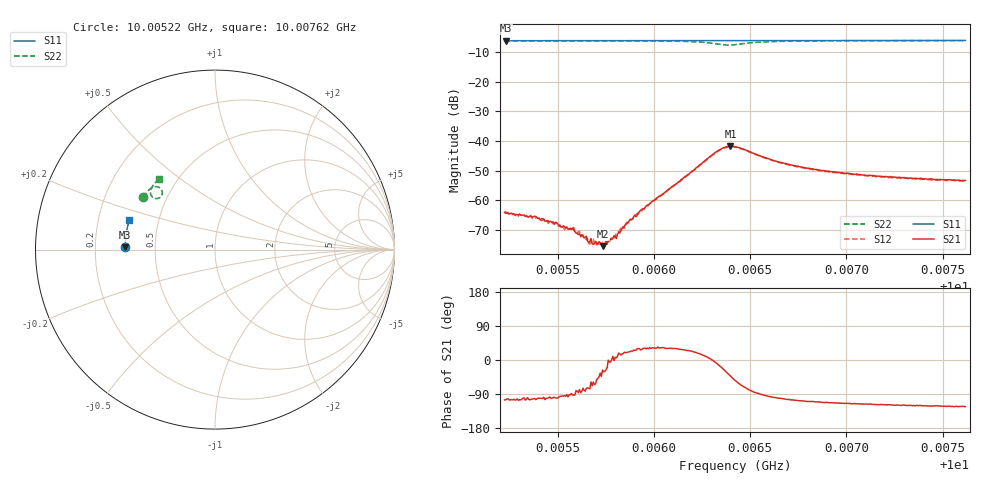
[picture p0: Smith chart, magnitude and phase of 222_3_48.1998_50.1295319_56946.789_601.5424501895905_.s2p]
#  HZ  S  RI  R  50.00
! Rohde & Schwarz Vector Network Analyzer
! Rohde-Schwarz,ZNB20-2Port,1311601062101988,3.16
! Created: UTC 3/20/2024, 11:46:00 AM
! freq[Hz]  re:S11  im:S11  re:S21  im:S21  re:S12  im:S12  re:S22  im:S22
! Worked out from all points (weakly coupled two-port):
!   401 points, 10.00522 GHz to 10.00762 GHz, reference 50 ohm
!   highest |S21| = -41.79 dB at 10.0064 GHz (marker M1); lowest = -75.6 dB at 10.00573 GHz (marker M2)
!   lowest |S11| = -6.0 dB at 10.00523 GHz (marker M3), VSWR 3.00, Z = 16.7 + j0.553 ohm
!   |S11| at or under -10 dB: nowhere
!   |S22| runs from -7.5 to -6.0 dB; largest |S21 - S12| = 0.00049
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1.0005225e10  -0.5002 0.0122  -0.000164 -0.000594  -0.000127 -0.000625  -0.401 0.291
1.0005231e10  -0.4998 0.0124  -0.000155 -0.000574  -0.000114 -0.00061  -0.4008 0.2915
1.000538e10  -0.4999 0.0223  -0.000106 -0.000521  -0.000108 -0.000467  -0.3946 0.3004
1.0005488e10  -0.4997 0.0294  -7.27e-05 -0.000412  -4.43e-05 -0.000392  -0.39 0.3068
1.0005578e10  -0.4997 0.0351  -1.7e-05 -0.000336  -1.62e-05 -0.000307  -0.3859 0.3123
1.0005625e10  -0.4995 0.0383  3.29e-05 -0.000258  4.44e-05 -0.000251  -0.3836 0.3153
1.0005661e10  -0.4995 0.0406  4.92e-05 -0.000184  6.41e-05 -0.000172  -0.3818 0.3173
1.0005685e10  -0.4992 0.0421  9.39e-05 -0.000151  0.000127 -0.000175  -0.3806 0.3188
1.0005733e10  -0.4992 0.0452  0.000148 -7.42e-05  0.000181 -6.63e-05  -0.3779 0.3219
1.0005769e10  -0.4989 0.0476  0.000204 -1.84e-05  0.000195 -3.52e-05  -0.376 0.3241
1.0005811e10  -0.4989 0.0501  0.000259 4.57e-05  0.000283 4.47e-05  -0.3732 0.3268
1.0005865e10  -0.4986 0.0538  0.000387 0.000149  0.000384 0.000161  -0.37 0.3303
1.0005919e10  -0.4983 0.0572  0.00053 0.000304  0.000495 0.000294  -0.3663 0.3341
1.0006026e10  -0.4977 0.0642  0.000994 0.00061  0.000917 0.000617  -0.3569 0.3415
1.0006319e10  -0.4949 0.0827  0.00639 -0.000697  0.00626 -0.000375  -0.2965 0.3311
1.0006361e10  -0.4943 0.0855  0.00699 -0.00316  0.00699 -0.00278  -0.2946 0.3078
1.0006397e10  -0.4941 0.0876  0.00603 -0.00547  0.00615 -0.00508  -0.3074 0.2901
1.0006421e10  -0.4939 0.0889  0.00474 -0.00645  0.00495 -0.0061  -0.3203 0.2846
1.0006643e10  -0.4922 0.103  -0.000823 -0.00439  -0.000601 -0.00437  -0.3593 0.3275
1.0006822e10  -0.49 0.1145  -0.00113 -0.00319  -0.000976 -0.00313  -0.3515 0.3482
1.0007223e10  -0.4846 0.1399  -0.00117 -0.00216  -0.00105 -0.00215  -0.3307 0.3751
1.0007618e10  -0.4775 0.1643  -0.00117 -0.0018  -0.00105 -0.00181  -0.3104 0.3951
